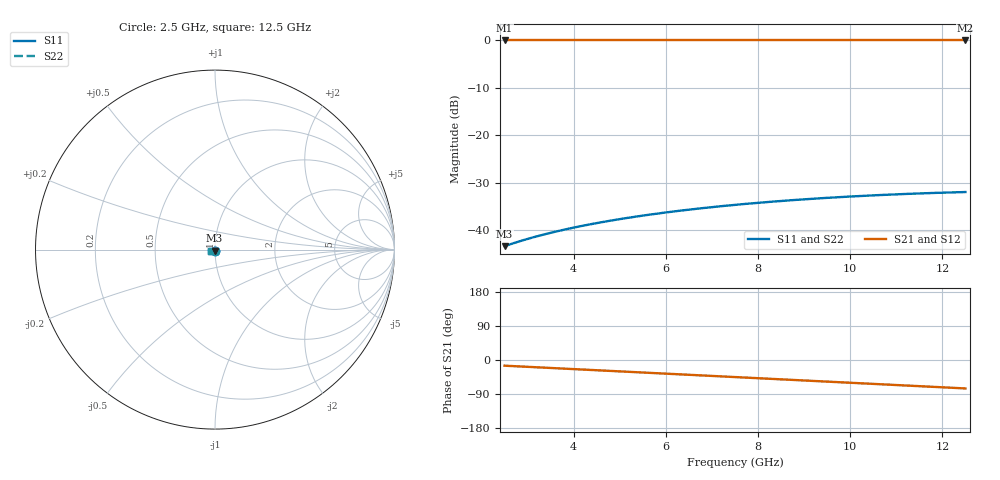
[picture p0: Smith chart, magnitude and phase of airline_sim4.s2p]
! TOUCHSTONE file generated by CST MICROWAVE STUDIO
! Date and time: Thu Apr 20 21:12:41 2023
! Project name: airline_sim.cst
! Header version: 2018
! Port assignment regex: !\s*Touchstone port\s*([0-9]+)\s*=\s*(CST MWS port|CST DS port)\s*([0-9]+|Zmin|Zmax)\s*\(\"(.*)\"\)(\s*mode\s*([0-9]+))?.*
! Touchstone port assignment:
! Touchstone port 1 = CST MWS port 1 ("")
! Touchstone port 2 = CST MWS port 2 ("")
# GHz S MA R 50
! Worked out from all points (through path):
!   1001 points, 2.5 GHz to 12.5 GHz, reference 50 ohm
!   highest |S21| = 0.00 dB at 2.5 GHz (marker M1); lowest = 0.0 dB at 12.5 GHz (marker M2)
!   group delay of S21, straight-line fit = 16.7 ps
!   lowest |S11| = -43.4 dB at 2.5 GHz (marker M3), VSWR 1.01, Z = 49.8 - j0.64 ohm
!   |S11| at or under -10 dB: start of sweep to end of sweep
!   |S22| runs from -43.4 to -32.0 dB; largest |S21 - S12| = 1.5e-07
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2.5  0.006758 -108.1  1 -15.0  1 -15.0  0.006758 -101.9
2.54  0.006864 -108.3  1 -15.3  1 -15.3  0.006864 -102.2
2.74  0.007388 -109.3  1 -16.5  1 -16.5  0.007388 -103.7
2.94  0.007909 -110.3  1 -17.7  1 -17.7  0.007909 -105.1
3.3  0.008839 -112.1  1 -19.8  1 -19.8  0.008839 -107.5
3.72  0.009908 -114.4  1 -22.3  1 -22.3  0.009908 -110.3
4.17  0.01103 -116.8  0.9999 -25.0  0.9999 -25.0  0.01103 -113.3
4.55  0.01196 -118.9  0.9999 -27.3  0.9999 -27.3  0.01196 -115.7
4.96  0.01295 -121.2  0.9999 -29.8  0.9999 -29.8  0.01295 -118.3
5.39  0.01395 -123.7  0.9999 -32.4  0.9999 -32.4  0.01395 -121.1
5.84  0.01497 -126.3  0.9999 -35.1  0.9999 -35.1  0.01497 -123.9
6.23  0.01583 -128.5  0.9999 -37.4  0.9999 -37.4  0.01583 -126.3
6.64  0.0167 -130.9  0.9999 -39.9  0.9999 -39.9  0.0167 -128.9
7.06  0.01757 -133.3  0.9998 -42.4  0.9998 -42.4  0.01757 -131.5
7.5  0.01844 -135.9  0.9998 -45.0  0.9998 -45.0  0.01844 -134.2
8.35  0.02 -140.8  0.9998 -50.1  0.9998 -50.1  0.02 -139.5
9.17  0.02136 -145.6  0.9998 -55.1  0.9998 -55.1  0.02136 -144.5
10.01  0.02259 -150.6  0.9997 -60.1  0.9997 -60.1  0.02259 -149.6
10.84  0.02363 -155.5  0.9997 -65.1  0.9997 -65.1  0.02363 -154.7
11.7  0.02452 -160.6  0.9997 -70.3  0.9997 -70.3  0.02452 -160.0
12.45  0.02514 -165.0  0.9997 -74.8  0.9997 -74.8  0.02514 -164.5
12.5  0.02517 -165.3  0.9997 -75.1  0.9997 -75.1  0.02517 -164.8
